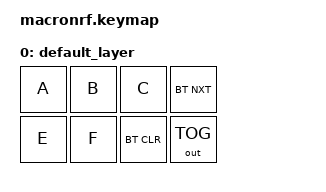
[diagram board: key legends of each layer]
#include <behaviors.dtsi>
#include <dt-bindings/zmk/keys.h>
#include <dt-bindings/zmk/bt.h>
#include <dt-bindings/zmk/outputs.h>

/ {
    keymap {
        compatible = "zmk,keymap";

        default_layer {
// --------------------------------------------------------------------------------------------------------------------------------------------------------------------
// |   1   |    2    |    3    |    4    |
// |   5   |    6    |    7    |    8    |
            bindings = <
    &kp A    &kp B    &kp C    &bt BT_NXT   
    &kp E    &kp F    &bt BT_CLR    &out OUT_TOG    
            >;
        };
    };
};        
